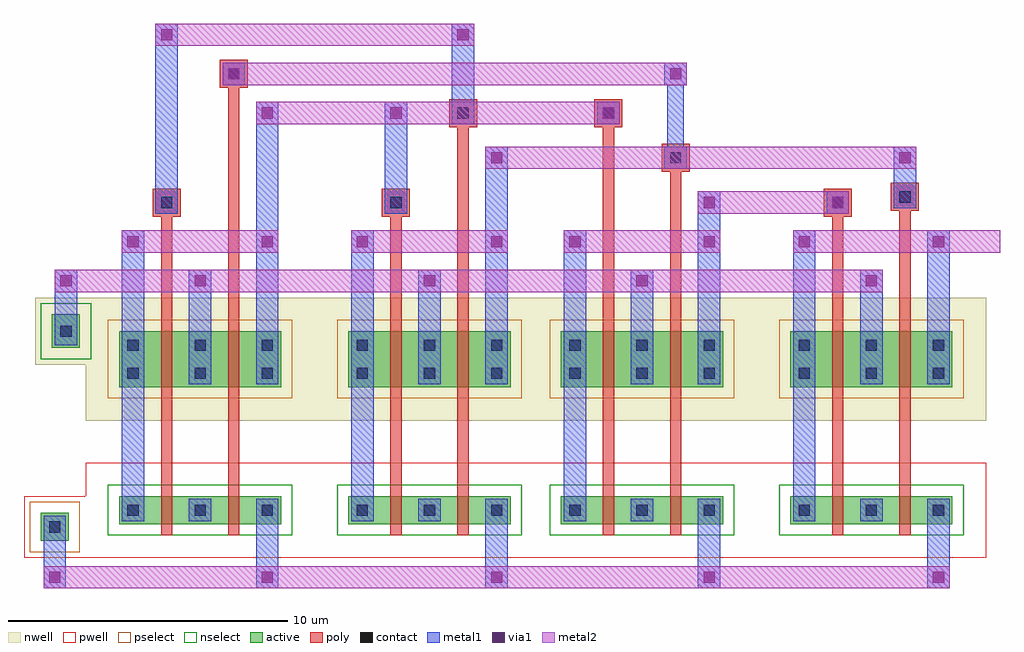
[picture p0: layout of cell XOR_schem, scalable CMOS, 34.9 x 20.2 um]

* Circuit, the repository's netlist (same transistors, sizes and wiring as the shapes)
*** SPICE deck for cell XOR_schem{sch} from library XOR
*** Created on Mon May 09, 2022 21:58:38
*** Last revised on Thu May 12, 2022 14:09:31
*** Written on Sun May 22, 2022 20:28:13 by Electric VLSI Design System, version 9.07
*** Layout tech: mocmos, foundry MOSIS
*** UC SPICE *** , MIN_RESIST 4.0, MIN_CAPAC 0.1FF

.global gnd vdd

*** TOP LEVEL CELL: XOR_schem{sch}
Mnmos@0 net@252 A net@257 gnd NMOS L=0.4U W=1U
Mnmos@1 net@257 B gnd gnd NMOS L=0.4U W=1U
Mnmos@10 net@271 net@252 net@258 gnd NMOS L=0.4U W=1U
Mnmos@11 net@258 A gnd gnd NMOS L=0.4U W=1U
Mnmos@12 net@255 net@252 net@259 gnd NMOS L=0.4U W=1U
Mnmos@13 net@259 B gnd gnd NMOS L=0.4U W=1U
Mnmos@14 Q net@255 net@260 gnd NMOS L=0.4U W=1U
Mnmos@15 net@260 net@271 gnd gnd NMOS L=0.4U W=1U
Mpmos@0 vdd A net@252 vdd PMOS L=0.4U W=2U
Mpmos@1 vdd B net@252 vdd PMOS L=0.4U W=2U
Mpmos@10 vdd net@252 net@271 vdd PMOS L=0.4U W=2U
Mpmos@11 vdd A net@271 vdd PMOS L=0.4U W=2U
Mpmos@12 vdd net@252 net@255 vdd PMOS L=0.4U W=2U
Mpmos@13 vdd B net@255 vdd PMOS L=0.4U W=2U
Mpmos@14 vdd net@255 Q vdd PMOS L=0.4U W=2U
Mpmos@15 vdd net@271 Q vdd PMOS L=0.4U W=2U

* Spice Code nodes in cell cell 'XOR_schem{sch}'
vdd vdd 0 DC 5
va A 0 DC pwl 10n 0 20n 5 50n 5 60n 0 90n 0 100n 5 130n 5 140n 0 170n 0 180n 5
vb B 0 DC pwl 10n 0 20n 5 100n 5 110n 0
.tran 200n
.include C:\electric\C5_models.txt
.END

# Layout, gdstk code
import gdstk
lib = gdstk.Library(unit=1e-6, precision=1e-09)
def R(c, l, rs):  # rectangles x0, y0, x1, y1
    for r in rs: c.add(gdstk.rectangle(r[:2], r[2:], *l))
def A(c, l, x, y, w, h, nx, ny, dx, dy):  # array of equal rectangles
    R(c, l, [(x+i*dx, y+j*dy, x+i*dx+w, y+j*dy+h) for i in range(nx) for j in range(ny)])
contact = (25, 0)
pwell = (41, 0)
nwell = (42, 0)
active = (43, 0)
pselect = (44, 0)
nselect = (45, 0)
poly = (46, 0)
metal1 = (49, 0)
via1 = (50, 0)
metal2 = (51, 0)

xor_schem = lib.new_cell('XOR_schem')
A(xor_schem, contact, -9.2, -3.4, 0.4, 0.4, 3, 2, 2.4, 4.9)
A(xor_schem, contact, -1, -3.4, 0.4, 0.4, 3, 2, 2.4, 4.9)
A(xor_schem, contact, 6.6, -3.4, 0.4, 0.4, 3, 2, 2.4, 4.9)
A(xor_schem, contact, 14.8, -3.4, 0.4, 0.4, 3, 2, 2.4, 4.9)
A(xor_schem, contact, -9.2, 2.5, 0.4, 0.4, 3, 1, 2.4, 0)
A(xor_schem, contact, -1, 2.5, 0.4, 0.4, 3, 1, 2.4, 0)
A(xor_schem, contact, 6.6, 2.5, 0.4, 0.4, 3, 1, 2.4, 0)
A(xor_schem, contact, 14.8, 2.5, 0.4, 0.4, 3, 1, 2.4, 0)
R(xor_schem, contact, [(-12,-4,-11.6,-3.6), (-11.6,3,-11.2,3.4), (-8,7.6,-7.6,8), (0.2,7.6,0.6,8), (16,7.6,16.4,8), (18.4,7.8,18.8,8.2), (10.2,9.2,10.6,9.6), (2.6,10.8,3,11.2), (7.8,10.8,8.2,11.2), (-5.6,12.2,-5.2,12.6)])
A(xor_schem, pwell, -10.7, -4.9, 3.4, 3.4, 3, 1, 2.4, 0)
A(xor_schem, pwell, -2.5, -4.9, 3.4, 3.4, 3, 1, 2.4, 0)
A(xor_schem, pwell, 5.1, -4.9, 3.4, 3.4, 3, 1, 2.4, 0)
A(xor_schem, pwell, 13.3, -4.9, 3.4, 3.4, 3, 1, 2.4, 0)
R(xor_schem, pwell, [(-12.9,-4.9,-10.7,-2.7), (-9.8,-4.9,-5.8,-1.5), (-7.4,-4.9,-3.4,-1.5), (-1.6,-4.9,2.4,-1.5), (0.8,-4.9,4.8,-1.5), (6,-4.9,10,-1.5), (8.4,-4.9,12.4,-1.5), (14.2,-4.9,18.2,-1.5), (16.6,-4.9,20.6,-1.5), (-10.5,-4.7,-7.05,-1.7), (-8.55,-4.7,-5.1,-1.7), (-8.1,-4.7,-4.65,-1.7), (-6.15,-4.7,-2.7,-1.7), (-2.3,-4.7,1.15,-1.7), (-0.35,-4.7,3.1,-1.7), (0.1,-4.7,3.55,-1.7), (2.05,-4.7,5.5,-1.7), (5.3,-4.7,8.75,-1.7), (7.25,-4.7,10.7,-1.7), (7.7,-4.7,11.15,-1.7), (9.65,-4.7,13.1,-1.7), (13.5,-4.7,16.95,-1.7), (15.45,-4.7,18.9,-1.7), (15.9,-4.7,19.35,-1.7), (17.85,-4.7,21.3,-1.7)])
A(xor_schem, nwell, -10.7, 0, 3.4, 4.4, 3, 1, 2.4, 0)
A(xor_schem, nwell, -2.5, 0, 3.4, 4.4, 3, 1, 2.4, 0)
A(xor_schem, nwell, 5.1, 0, 3.4, 4.4, 3, 1, 2.4, 0)
A(xor_schem, nwell, 13.3, 0, 3.4, 4.4, 3, 1, 2.4, 0)
R(xor_schem, nwell, [(-9.8,0,-5.8,4.4), (-7.4,0,-3.4,4.4), (-1.6,0,2.4,4.4), (0.8,0,4.8,4.4), (6,0,10,4.4), (8.4,0,12.4,4.4), (14.2,0,18.2,4.4), (16.6,0,20.6,4.4), (-10.5,0.7,-7.05,3.7), (-8.55,0.7,-5.1,3.7), (-8.1,0.7,-4.65,3.7), (-6.15,0.7,-2.7,3.7), (-2.3,0.7,1.15,3.7), (-0.35,0.7,3.1,3.7), (0.1,0.7,3.55,3.7), (2.05,0.7,5.5,3.7), (5.3,0.7,8.75,3.7), (7.25,0.7,10.7,3.7), (7.7,0.7,11.15,3.7), (9.65,0.7,13.1,3.7), (13.5,0.7,16.95,3.7), (15.45,0.7,18.9,3.7), (15.9,0.7,19.35,3.7), (17.85,0.7,21.3,3.7), (-12.5,2,-10.3,4.4)])
A(xor_schem, active, -9.5, -3.7, 1, 1, 3, 1, 2.4, 0)
A(xor_schem, active, -1.3, -3.7, 1, 1, 3, 1, 2.4, 0)
A(xor_schem, active, 6.3, -3.7, 1, 1, 3, 1, 2.4, 0)
A(xor_schem, active, 14.5, -3.7, 1, 1, 3, 1, 2.4, 0)
A(xor_schem, active, -9.5, 1.2, 1, 2, 3, 1, 2.4, 0)
A(xor_schem, active, -1.3, 1.2, 1, 2, 3, 1, 2.4, 0)
A(xor_schem, active, 6.3, 1.2, 1, 2, 3, 1, 2.4, 0)
A(xor_schem, active, 14.5, 1.2, 1, 2, 3, 1, 2.4, 0)
R(xor_schem, active, [(-12.3,-4.3,-11.3,-3.3), (-8.6,-3.7,-7,-2.7), (-6.2,-3.7,-4.6,-2.7), (-0.4,-3.7,1.2,-2.7), (2,-3.7,3.6,-2.7), (7.2,-3.7,8.8,-2.7), (9.6,-3.7,11.2,-2.7), (15.4,-3.7,17,-2.7), (17.8,-3.7,19.4,-2.7), (-9.3,-3.5,-8.25,-2.9), (-7.35,-3.5,-6.3,-2.9), (-6.9,-3.5,-5.85,-2.9), (-4.95,-3.5,-3.9,-2.9), (-1.1,-3.5,-0.05,-2.9), (0.85,-3.5,1.9,-2.9), (1.3,-3.5,2.35,-2.9), (3.25,-3.5,4.3,-2.9), (6.5,-3.5,7.55,-2.9), (8.45,-3.5,9.5,-2.9), (8.9,-3.5,9.95,-2.9), (10.85,-3.5,11.9,-2.9), (14.7,-3.5,15.75,-2.9), (16.65,-3.5,17.7,-2.9), (17.1,-3.5,18.15,-2.9), (19.05,-3.5,20.1,-2.9), (-8.6,1.2,-7,3.2), (-6.2,1.2,-4.6,3.2), (-0.4,1.2,1.2,3.2), (2,1.2,3.6,3.2), (7.2,1.2,8.8,3.2), (9.6,1.2,11.2,3.2), (15.4,1.2,17,3.2), (17.8,1.2,19.4,3.2), (-9.3,1.9,-8.25,2.5), (-7.35,1.9,-6.3,2.5), (-6.9,1.9,-5.85,2.5), (-4.95,1.9,-3.9,2.5), (-1.1,1.9,-0.05,2.5), (0.85,1.9,1.9,2.5), (1.3,1.9,2.35,2.5), (3.25,1.9,4.3,2.5), (6.5,1.9,7.55,2.5), (8.45,1.9,9.5,2.5), (8.9,1.9,9.95,2.5), (10.85,1.9,11.9,2.5), (14.7,1.9,15.75,2.5), (16.65,1.9,17.7,2.5), (17.1,1.9,18.15,2.5), (19.05,1.9,20.1,2.5), (-11.9,2.6,-10.9,3.8)])
A(xor_schem, pselect, -9.9, 0.8, 1.8, 2.8, 3, 1, 2.4, 0)
A(xor_schem, pselect, -1.7, 0.8, 1.8, 2.8, 3, 1, 2.4, 0)
A(xor_schem, pselect, 5.9, 0.8, 1.8, 2.8, 3, 1, 2.4, 0)
A(xor_schem, pselect, 14.1, 0.8, 1.8, 2.8, 3, 1, 2.4, 0)
R(xor_schem, pselect, [(-12.7,-4.7,-10.9,-2.9), (-9,0.8,-6.6,3.6), (-6.6,0.8,-4.2,3.6), (-0.8,0.8,1.6,3.6), (1.6,0.8,4,3.6), (6.8,0.8,9.2,3.6), (9.2,0.8,11.6,3.6), (15,0.8,17.4,3.6), (17.4,0.8,19.8,3.6), (-9.7,1.5,-7.85,2.9), (-7.75,1.5,-5.9,2.9), (-7.3,1.5,-5.45,2.9), (-5.35,1.5,-3.5,2.9), (-1.5,1.5,0.35,2.9), (0.45,1.5,2.3,2.9), (0.9,1.5,2.75,2.9), (2.85,1.5,4.7,2.9), (6.1,1.5,7.95,2.9), (8.05,1.5,9.9,2.9), (8.5,1.5,10.35,2.9), (10.45,1.5,12.3,2.9), (14.3,1.5,16.15,2.9), (16.25,1.5,18.1,2.9), (16.7,1.5,18.55,2.9), (18.65,1.5,20.5,2.9)])
A(xor_schem, nselect, -9.9, -4.1, 1.8, 1.8, 3, 1, 2.4, 0)
A(xor_schem, nselect, -1.7, -4.1, 1.8, 1.8, 3, 1, 2.4, 0)
A(xor_schem, nselect, 5.9, -4.1, 1.8, 1.8, 3, 1, 2.4, 0)
A(xor_schem, nselect, 14.1, -4.1, 1.8, 1.8, 3, 1, 2.4, 0)
R(xor_schem, nselect, [(-9,-4.1,-6.6,-2.3), (-6.6,-4.1,-4.2,-2.3), (-0.8,-4.1,1.6,-2.3), (1.6,-4.1,4,-2.3), (6.8,-4.1,9.2,-2.3), (9.2,-4.1,11.6,-2.3), (15,-4.1,17.4,-2.3), (17.4,-4.1,19.8,-2.3), (-9.7,-3.9,-7.85,-2.5), (-7.75,-3.9,-5.9,-2.5), (-7.3,-3.9,-5.45,-2.5), (-5.35,-3.9,-3.5,-2.5), (-1.5,-3.9,0.35,-2.5), (0.45,-3.9,2.3,-2.5), (0.9,-3.9,2.75,-2.5), (2.85,-3.9,4.7,-2.5), (6.1,-3.9,7.95,-2.5), (8.05,-3.9,9.9,-2.5), (8.5,-3.9,10.35,-2.5), (10.45,-3.9,12.3,-2.5), (14.3,-3.9,16.15,-2.5), (16.25,-3.9,18.1,-2.5), (16.7,-3.9,18.55,-2.5), (18.65,-3.9,20.5,-2.5), (-12.3,2.2,-10.5,4.2)])
R(xor_schem, poly, [(-8,-4.1,-7.6,-2.3), (-5.6,-4.1,-5.2,-2.3), (0.2,-4.1,0.6,-2.3), (2.6,-4.1,3,-2.3), (7.8,-4.1,8.2,-2.3), (10.2,-4.1,10.6,-2.3), (16,-4.1,16.4,-2.3), (18.4,-4.1,18.8,-2.3), (-8,-2.5,-7.6,1), (-5.6,-2.5,-5.2,1), (0.2,-2.5,0.6,1), (2.6,-2.5,3,1), (7.8,-2.5,8.2,1), (10.2,-2.5,10.6,1), (16,-2.5,16.4,1), (18.4,-2.5,18.8,1), (-8,0.8,-7.6,3.6), (-5.6,0.8,-5.2,3.6), (0.2,0.8,0.6,3.6), (2.6,0.8,3,3.6), (7.8,0.8,8.2,3.6), (10.2,0.8,10.6,3.6), (16,0.8,16.4,3.6), (18.4,0.8,18.8,3.6), (-8,3.4,-7.6,8), (-5.6,3.4,-5.2,12.6), (0.2,3.4,0.6,8), (2.6,3.4,3,11.2), (7.8,3.4,8.2,11.2), (10.2,3.4,10.6,9.6), (16,3.4,16.4,8.2), (18.4,3.4,18.8,8.2), (-8.3,7.3,-7.3,8.3), (-0.1,7.3,0.9,8.3), (15.7,7.3,16.7,8.3), (18.1,7.5,19.1,8.5), (16,7.6,16.4,8.2), (9.9,8.9,10.9,9.9), (2.3,10.5,3.3,11.5), (7.5,10.5,8.5,11.5), (-5.9,11.9,-4.9,12.9)])
A(xor_schem, metal1, -9.4, -3.6, 0.8, 0.8, 3, 1, 2.4, 0)
A(xor_schem, metal1, -1.2, -3.6, 0.8, 0.8, 3, 1, 2.4, 0)
A(xor_schem, metal1, 6.4, -3.6, 0.8, 0.8, 3, 1, 2.4, 0)
A(xor_schem, metal1, 14.6, -3.6, 0.8, 0.8, 3, 1, 2.4, 0)
A(xor_schem, metal1, -9.4, 1.3, 0.8, 1.8, 3, 1, 2.4, 0)
A(xor_schem, metal1, -1.2, 1.3, 0.8, 1.8, 3, 1, 2.4, 0)
A(xor_schem, metal1, 6.4, 1.3, 0.8, 1.8, 3, 1, 2.4, 0)
A(xor_schem, metal1, 14.6, 1.3, 0.8, 1.8, 3, 1, 2.4, 0)
R(xor_schem, metal1, [(-12.2,-6,-11.4,-5.2), (-12.2,-6,-11.4,-3.4), (-4.6,-6,-3.8,-5.2), (-4.6,-6,-3.8,-2.8), (3.6,-6,4.4,-5.2), (3.6,-6,4.4,-2.8), (11.2,-6,12,-5.2), (11.2,-6,12,-2.8), (19.4,-6,20.2,-5.2), (19.4,-6,20.2,-2.8), (-12.2,-4.2,-11.4,-3.4), (-9.4,-3.6,-8.6,2.6), (-1.2,-3.6,-0.4,2.6), (6.4,-3.6,7.2,2.6), (14.6,-3.6,15.4,2.6), (-9.4,1.8,-8.6,6.8), (-7,1.8,-6.2,5.4), (-4.6,1.8,-3.8,6.8), (-1.2,1.8,-0.4,6.8), (1.2,1.8,2,5.4), (3.6,1.8,4.4,6.8), (6.4,1.8,7.2,6.8), (8.8,1.8,9.6,5.4), (11.2,1.8,12,6.8), (14.6,1.8,15.4,6.6), (17,1.8,17.8,5.4), (19.4,1.8,20.2,6.8), (-11.8,2.7,-11,3.7), (-11.8,2.8,-11,5.4), (-11.8,4.6,-11,5.4), (-7,4.6,-6.2,5.4), (1.2,4.6,2,5.4), (8.8,4.6,9.6,5.4), (17,4.6,17.8,5.4), (-9.4,6,-8.6,6.8), (-4.6,6,-3.8,6.8), (-4.6,6,-3.8,11.4), (-1.2,6,-0.4,6.8), (3.6,6,4.4,6.8), (3.6,6,4.4,9.8), (6.4,6,7.2,6.8), (11.2,6,12,6.8), (11.2,6,12,8.2), (14.6,6,15.4,6.8), (19.4,6,20.2,6.8), (-8.2,7.4,-7.4,8.2), (-8.2,7.4,-7.4,14.2), (0,7.4,0.8,8.2), (0,7.4,0.8,11.4), (11.2,7.4,12,8.2), (15.8,7.4,16.6,8.2), (15.8,7.4,16.6,8.2), (15.8,7.4,16.6,8.2), (15.8,7.4,16.6,8.2), (18.2,7.6,19,8.4), (18.2,7.6,19,9.8), (3.6,9,4.4,9.8), (10,9,10.8,9.8), (18.2,9,19,9.8), (10.1,9.1,10.7,12.3), (-4.6,10.6,-3.8,11.4), (0,10.6,0.8,11.4), (2.4,10.6,3.2,11.4), (2.4,10.6,3.2,14.2), (7.6,10.6,8.4,11.4), (7.6,10.6,8.4,11.4), (7.8,10.8,8.2,11.2), (10.1,11.7,10.7,12.7), (-5.8,12,-5,12.8), (-5.8,12,-5,12.8), (-5.8,12,-5,12.8), (10,12,10.8,12.8), (-8.2,13.4,-7.4,14.2), (2.4,13.4,3.2,14.2)])
R(xor_schem, via1, [(-12,-5.8,-11.6,-5.4), (-4.4,-5.8,-4,-5.4), (3.8,-5.8,4.2,-5.4), (11.4,-5.8,11.8,-5.4), (19.6,-5.8,20,-5.4), (-11.6,4.8,-11.2,5.2), (-6.8,4.8,-6.4,5.2), (1.4,4.8,1.8,5.2), (9,4.8,9.4,5.2), (17.2,4.8,17.6,5.2), (-9.2,6.2,-8.8,6.6), (-4.4,6.2,-4,6.6), (-1,6.2,-0.6,6.6), (3.8,6.2,4.2,6.6), (6.6,6.2,7,6.6), (11.4,6.2,11.8,6.6), (14.8,6.2,15.2,6.6), (19.6,6.2,20,6.6), (11.4,7.6,11.8,8), (16,7.6,16.4,8), (3.8,9.2,4.2,9.6), (18.4,9.2,18.8,9.6), (-4.4,10.8,-4,11.2), (0.2,10.8,0.6,11.2), (7.8,10.8,8.2,11.2), (-5.6,12.2,-5.2,12.6), (10.2,12.2,10.6,12.6), (-8,13.6,-7.6,14), (2.6,13.6,3,14)])
R(xor_schem, metal2, [(-12.2,-6,-11.4,-5.2), (-12.2,-6,-3.8,-5.2), (-4.6,-6,-3.8,-5.2), (-4.6,-6,4.4,-5.2), (3.6,-6,4.4,-5.2), (3.6,-6,12,-5.2), (11.2,-6,12,-5.2), (11.2,-6,20.2,-5.2), (19.4,-6,20.2,-5.2), (-11.8,4.6,-11,5.4), (-11.8,4.6,-6.2,5.4), (-7,4.6,-6.2,5.4), (-7,4.6,2,5.4), (1.2,4.6,2,5.4), (1.2,4.6,9.6,5.4), (8.8,4.6,9.6,5.4), (8.8,4.6,17.8,5.4), (17,4.6,17.8,5.4), (-9.4,6,-8.6,6.8), (-9.4,6,-3.8,6.8), (-4.6,6,-3.8,6.8), (-1.2,6,-0.4,6.8), (-1.2,6,4.4,6.8), (3.6,6,4.4,6.8), (6.4,6,7.2,6.8), (6.4,6,12,6.8), (11.2,6,12,6.8), (14.6,6,15.4,6.8), (14.6,6,20.2,6.8), (19.4,6,20.2,6.8), (19.4,6,22,6.8), (11.2,7.4,12,8.2), (11.2,7.4,16.6,8.2), (15.8,7.4,16.6,8.2), (15.8,7.4,16.6,8.2), (3.6,9,4.4,9.8), (3.6,9,19,9.8), (18.2,9,19,9.8), (-4.6,10.6,-3.8,11.4), (-4.6,10.6,0.8,11.4), (0,10.6,0.8,11.4), (0,10.6,8.4,11.4), (7.6,10.6,8.4,11.4), (-5.8,12,-5,12.8), (-5.8,12,10.8,12.8), (10,12,10.8,12.8), (10,12,10.8,12.8), (-8.2,13.4,-7.4,14.2), (-8.2,13.4,3.2,14.2), (2.4,13.4,3.2,14.2)])

lib.write_gds('XOR_schem.gds')
